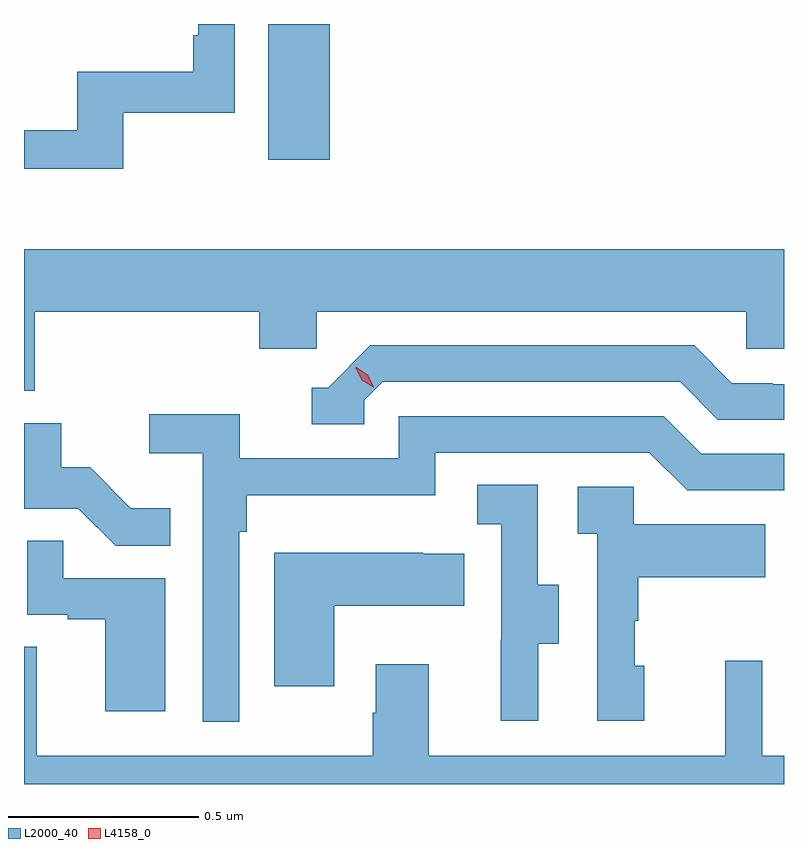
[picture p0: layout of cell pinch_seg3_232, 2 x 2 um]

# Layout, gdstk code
import gdstk
lib = gdstk.Library(unit=1e-6, precision=1e-09)
def R(c, l, rs):  # rectangles x0, y0, x1, y1
    for r in rs: c.add(gdstk.rectangle(r[:2], r[2:], *l))
def P(c, l, *ps):  # polygons
    for p in ps: c.add(gdstk.Polygon(p, *l))
L2000_40 = (2000, 40)
L4158_0 = (4158, 0)

pinch_seg3_232 = lib.new_cell('pinch_seg3_232')
R(pinch_seg3_232, L2000_40, [(925.457,730.62,925.618,730.977)])
P(pinch_seg3_232, L2000_40, [(925.075,730.743),(925.368,730.743),(925.368,730.977),(925.272,730.977),(925.272,730.948),(925.259,730.948),(925.259,730.852),(924.954,730.852),(924.954,730.697),(924.814,730.697),(924.814,730.596),(925.075,730.596)],
  [(924.842,730.22),(925.433,730.22),(925.433,730.122),(925.584,730.122),(925.584,730.22),(926.715,730.22),(926.715,730.122),(926.814,730.122),(926.814,730.384),(924.814,730.384),(924.814,730.012),(924.842,730.012)],
  [(925.71,729.987),(925.758,730.035),(926.541,730.035),(926.64,729.936),(926.814,729.936),(926.814,730.029),(926.784,730.029),(926.784,730.032),(926.677,730.032),(926.578,730.131),(925.725,730.131),(925.614,730.02),(925.571,730.02),(925.571,729.924),(925.71,729.924)],
  [(925.38,729.641),(925.4,729.641),(925.4,729.737),(925.896,729.737),(925.896,729.849),(926.46,729.849),(926.559,729.75),(926.814,729.75),(926.814,729.846),(926.596,729.846),(926.497,729.945),(925.8,729.945),(925.8,729.834),(925.382,729.834),(925.382,729.95),(925.143,729.95),(925.143,729.848),(925.284,729.848),(925.284,729.141),(925.38,729.141)],
  [(925.199,729.703),(925.095,729.703),(924.988,729.81),(924.912,729.81),(924.912,729.927),(924.814,729.927),(924.814,729.702),(924.957,729.702),(925.055,729.604),(925.199,729.604)],
  [(926.167,729.346),(926.221,729.346),(926.221,729.501),(926.166,729.501),(926.166,729.764),(926.007,729.764),(926.007,729.661),(926.07,729.661),(926.07,729.357),(926.069,729.357),(926.069,729.144),(926.167,729.144)],
  [(926.446,729.288),(926.421,729.288),(926.421,729.407),(926.431,729.407),(926.431,729.521),(926.765,729.521),(926.765,729.661),(926.418,729.661),(926.418,729.759),(926.271,729.759),(926.271,729.635),(926.322,729.635),(926.322,729.144),(926.446,729.144)],
  [(925.186,729.519),(924.917,729.519),(924.917,729.617),(924.822,729.617),(924.822,729.423),(924.929,729.423),(924.929,729.411),(925.028,729.411),(925.028,729.168),(925.186,729.168)],
  [(925.63,729.446),(925.973,729.446),(925.973,729.583),(925.865,729.583),(925.865,729.586),(925.472,729.586),(925.472,729.234),(925.63,729.234)],
  [(926.66,729.301),(926.66,729.052),(925.879,729.052),(925.879,729.292),(925.739,729.292),(925.739,729.164),(925.732,729.164),(925.732,729.052),(924.847,729.052),(924.847,729.338),(924.814,729.338),(924.814,728.977),(926.814,728.977),(926.814,729.052),(926.757,729.052),(926.757,729.301)])
P(pinch_seg3_232, L4158_0, [(925.733,730.021),(925.703,730.04),(925.687,730.073),(925.687,730.074),(925.688,730.074),(925.718,730.054),(925.734,730.021),(925.734,730.021)])

lib.write_gds('pinch_seg3_232.gds')
